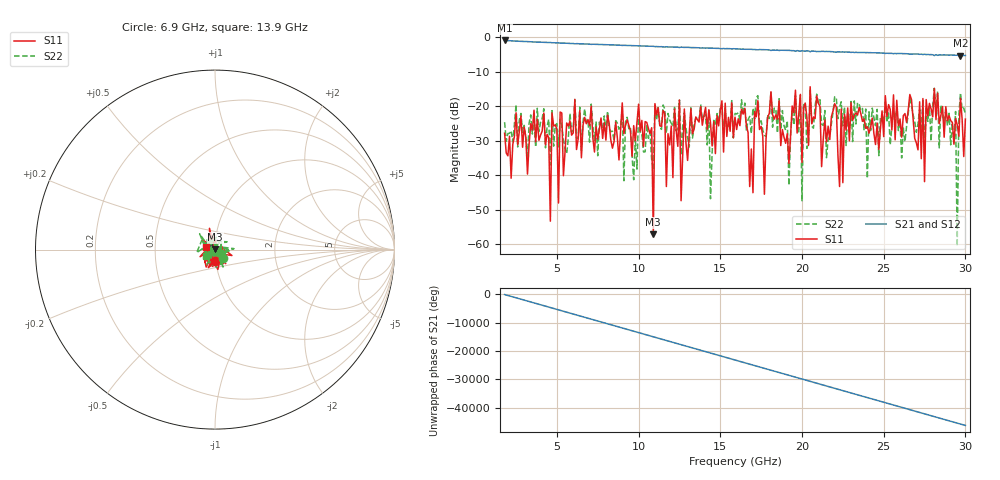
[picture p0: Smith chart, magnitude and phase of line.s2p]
! C:\Users\Focus\Desktop\Focus Traning\LOW FREQUENCY TUNERS\LOAD-PULL CALIBRATION\02-08-2024\focus_TRL\line.S2P
! measured on: 08/02/24 14:48:27
# GHZ S MA R 50
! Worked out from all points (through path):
!   283 points, 1.8 GHz to 30 GHz, reference 50 ohm
!   highest |S21| = -0.99 dB at 1.8 GHz (marker M1); lowest = -5.4 dB at 29.7 GHz (marker M2)
!   lowest |S11| = -57.0 dB at 10.9 GHz (marker M3), VSWR 1.00, Z = 50.1 + j0.095 ohm
!   |S11| at or under -10 dB: start of sweep to end of sweep
!   |S22| runs from -60.5 to -14.8 dB; largest |S21 - S12| = 0.00023
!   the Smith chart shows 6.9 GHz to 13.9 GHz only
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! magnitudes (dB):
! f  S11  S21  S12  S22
! 1.8 GHz  -27.8  -1.0  -1.0  -24.6
! 6.5 GHz  -34.9  -2.0  -2.0  -32.8
! 10 GHz  -19.4  -2.6  -2.6  -21.1
! 10.8 GHz  -26.2  -2.7  -2.7  -35.5
! 10.9 GHz  -57.0  -2.7  -2.7  -38.4
! 11 GHz  -19.3  -2.8  -2.8  -19.5
! 11.2 GHz  -20.4  -2.8  -2.8  -20.4
! 11.7 GHz  -43.2  -2.8  -2.8  -27.8
! 12.5 GHz  -18.2  -3.0  -3.0  -18.2
! 12.6 GHz  -47.3  -2.9  -2.9  -34.1
! 12.8 GHz  -20.8  -3.0  -3.0  -21.9
! 14.3 GHz  -21.0  -3.2  -3.2  -21.2
! 14.4 GHz  -24.8  -3.2  -3.2  -46.7
! 15.9 GHz  -23.2  -3.4  -3.4  -22.1
! 19.9 GHz  -16.6  -4.1  -4.1  -16.8
! 20 GHz  -36.3  -3.9  -3.9  -47.4
! 20.6 GHz  -25.1  -4.0  -4.0  -25.8
! 25.3 GHz  -19.5  -4.7  -4.7  -22.0
! 29.4 GHz  -23.5  -5.3  -5.3  -21.5
! 29.5 GHz  -25.4  -5.2  -5.2  -60.5
! 29.7 GHz  -17.7  -5.4  -5.4  -16.2
! 30 GHz  -23.7  -5.3  -5.3  -22.4
